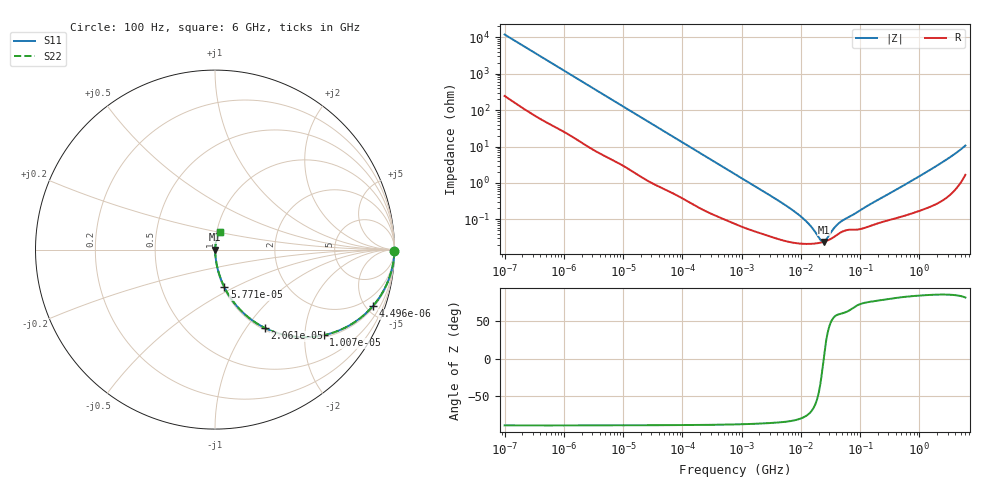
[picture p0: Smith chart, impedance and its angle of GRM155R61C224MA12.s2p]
!Murata Part Number: GRM155R61C224MA12
!These Parameters are Measured in Series Mode Connection
!Data Generated on Mar 30, 2021
!  o--ll--o
!Port1  Port2
!  o------o
!Operation Temp=25[degC], DC Bias Voltage=0[V]
!Freq. Start=100[Hz] Stop=6[GHz] 401[Steps]
# Hz S RI R 50
!Freq.(Hz) S11(Real) S11(Imag) S21(Real) S21(Imag) S12(Real) S12(Imag) S22(Real) S22(Imag)
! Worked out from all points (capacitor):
!   401 points, 100 Hz to 6 GHz, reference 50 ohm
!   read as one part in series: C = 134 nF near 109 Hz
!   lowest |Z| = 24.3 mohm at 24.34 MHz (marker M1)
!   series resonance near 24.36 MHz, so ESL is about 320 pH
!   S11 on the Smith chart (normalised r, x): 100 Hz: open; 4.496 kHz: 1.12, -5.51; 10.07 kHz: 1.06, -2.49; 20.61 kHz: 1.03, -1.23; 57.71 kHz: 1.01, -0.45; 6 GHz: 1.03, +0.21
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100  0.9998 -0.00845  0.000245 0.00845  0.000245 0.00845  0.9998 -0.00845
600  0.9966 -0.0494  0.00342 0.0494  0.00342 0.0494  0.9966 -0.0494
2008  0.9709 -0.1582  0.0291 0.1582  0.0291 0.1582  0.9709 -0.1582
4496  0.8786 -0.3161  0.1214 0.3161  0.1214 0.3161  0.8786 -0.3161
10066  0.6062 -0.4769  0.3938 0.4769  0.3938 0.4769  0.6062 -0.4769
14402  0.4361 -0.4842  0.5639 0.4842  0.5639 0.4842  0.4361 -0.4842
20606  0.2795 -0.4373  0.7205 0.4373  0.7205 0.4373  0.2795 -0.4373
40335  0.0973 -0.2841  0.9027 0.2841  0.9027 0.2841  0.0973 -0.2841
57709  0.0525 -0.21  0.9475 0.21  0.9475 0.21  0.0525 -0.21
169018  0.00828 -0.0768  0.9917 0.0768  0.9917 0.0768  0.00828 -0.0768
774597  0.00105 -0.0174  0.9989 0.0174  0.9989 0.0174  0.00105 -0.0174
6644369  0.000242 -0.00198  0.9998 0.00198  0.9998 0.00198  0.000242 -0.00198
1.087309e7  0.000216 -0.00105  0.9998 0.00105  0.9998 0.00105  0.000216 -0.00105
1.555665e7  0.000215 -0.000545  0.9998 0.000545  0.9998 0.000545  0.000215 -0.000545
2.128304e7  0.00023 -0.000159  0.9998 0.000159  0.9998 0.000159  0.00023 -0.000159
2.434276e7  0.000243 -6e-07  0.9998 6e-07  0.9998 6e-07  0.000243 -6e-07
2.662322e7  0.000254 0.000105  0.9997 -0.000105  0.9997 -0.000105  0.000254 0.000105
3.80911e7  0.000348 0.000524  0.9997 -0.000524  0.9997 -0.000524  0.000348 0.000524
4.764863e7  0.000444 0.000753  0.9996 -0.000753  0.9996 -0.000753  0.000444 0.000753
3.124326e8  0.00099 0.00504  0.999 -0.00504  0.999 -0.00504  0.00099 0.00504
1.95892e9  0.00351 0.0292  0.9965 -0.0292  0.9965 -0.0292  0.00351 0.0292
6e9  0.0269 0.1007  0.9731 -0.1007  0.9731 -0.1007  0.0269 0.1007
